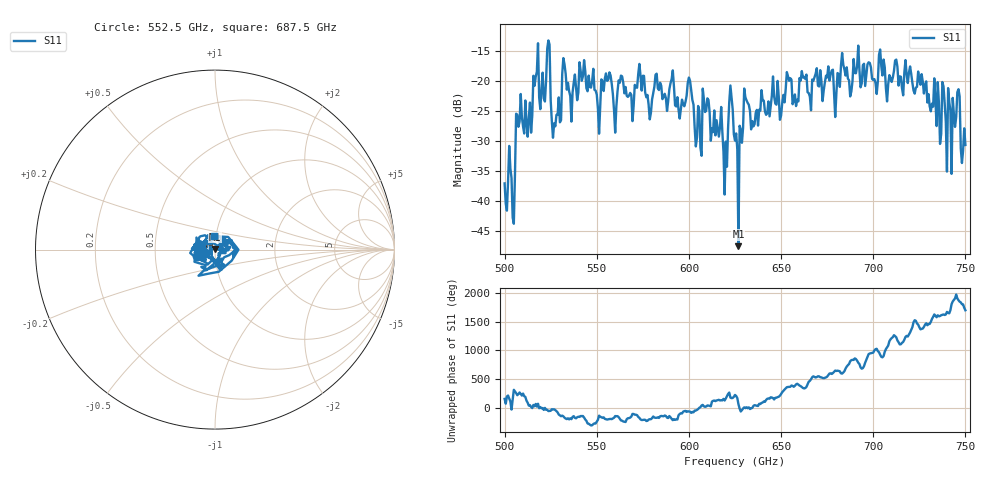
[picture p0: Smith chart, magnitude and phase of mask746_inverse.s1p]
!Created with skrf (http://scikit-rf.org).
# GHz S MA R 50.0
!freq magS11 angS11
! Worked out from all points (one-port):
!   401 points, 500 GHz to 750 GHz, reference 50 ohm
!   lowest |S11| = -47.6 dB at 626.9 GHz (marker M1), VSWR 1.01, Z = 50.2 + j0.375 ohm
!   |S11| at or under -10 dB: start of sweep to end of sweep
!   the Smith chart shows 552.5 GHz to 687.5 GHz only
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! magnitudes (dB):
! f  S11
! 500 GHz  -37.1
! 504.4 GHz  -42.8
! 507.5 GHz  -27.6
! 513.8 GHz  -23.6
! 516.9 GHz  -19.2
! 520.6 GHz  -18.6
! 523.8 GHz  -13.2
! 526.9 GHz  -27.1
! 531.2 GHz  -18.8
! 550.6 GHz  -24.5
! 556.2 GHz  -19.8
! 560 GHz  -28.6
! 562.5 GHz  -20.3
! 593.8 GHz  -22.7
! 600.6 GHz  -19.9
! 605.6 GHz  -24.9
! 608.8 GHz  -25.2
! 619.4 GHz  -39.0
! 622.5 GHz  -20.7
! 625 GHz  -29.9
! 626.9 GHz  -47.6
! 631.2 GHz  -23.2
! 656.2 GHz  -23.9
! 687.5 GHz  -22.5
! 718.8 GHz  -20.3
! 741.2 GHz  -23.5
! 745.6 GHz  -21.8
! 750 GHz  -30.7
